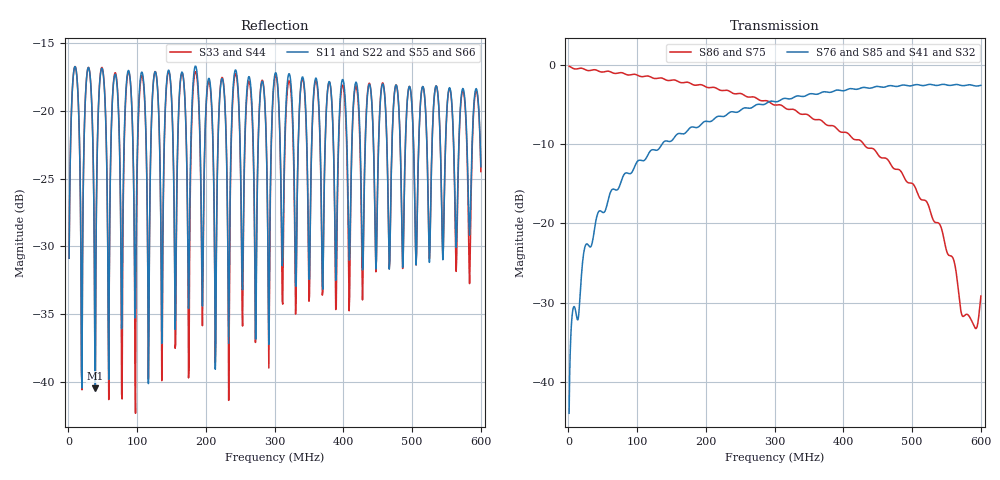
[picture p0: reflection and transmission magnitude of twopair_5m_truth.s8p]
! bare DUT without fixture (ground truth)
! synthetic two coupled pairs
# Hz S RI R 50
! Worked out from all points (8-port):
!   801 points, 1 MHz to 600 MHz, reference 50 ohm
!   strongest paths, dB at 1 MHz, 150.8 MHz, 300.5 MHz, 450.2 MHz, 600 MHz:
!     S76: -44.0, -9.5, -4.6, -2.7, -2.6
!     S85: -44.0, -9.5, -4.6, -2.7, -2.6
!     S41: -44.0, -9.5, -4.6, -2.7, -2.6
!     S32: -44.0, -9.5, -4.6, -2.7, -2.6
!     S86: -0.1, -1.9, -5.0, -11.3, -29.2
!     S75: -0.1, -1.9, -5.0, -11.3, -29.2
!   lowest |S11| = -40.4 dB at 39.19 MHz (marker M1), VSWR 1.02, Z = 50.6 + j0.72 ohm
!   |S11| at or under -10 dB: start of sweep to end of sweep
